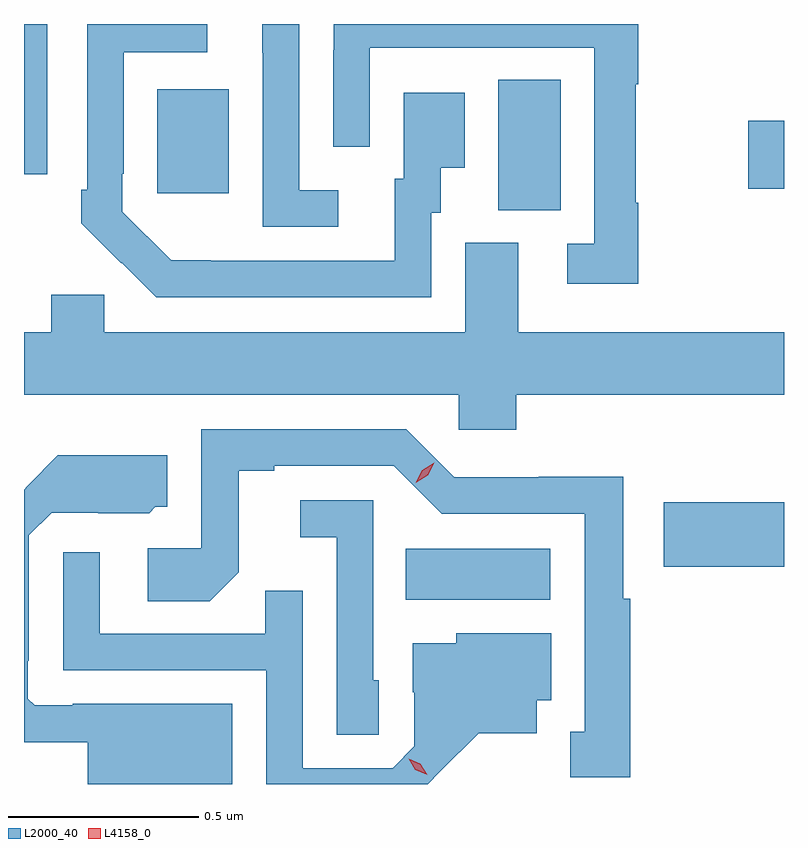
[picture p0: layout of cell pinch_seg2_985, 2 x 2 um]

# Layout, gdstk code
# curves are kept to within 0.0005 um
import gdstk
lib = gdstk.Library(unit=1e-6, precision=1e-09)
def R(c, l, rs):  # rectangles x0, y0, x1, y1
    for r in rs: c.add(gdstk.rectangle(r[:2], r[2:], *l))
def P(c, l, *ps):  # polygons
    for p in ps: c.add(gdstk.Polygon(p, *l))
L2000_40 = (2000, 40)
L4158_0 = (4158, 0)

pinch_seg2_985 = lib.new_cell('pinch_seg2_985')
R(pinch_seg2_985, L2000_40, [(324.514,640.436,324.895,640.57), (325.194,640.523,325.51,640.693), (324.758,641.461,324.922,641.804), (323.861,641.505,324.049,641.779), (325.416,641.518,325.51,641.696), (323.51,641.556,323.571,641.951)])
P(pinch_seg2_985, L2000_40, [(325.127,641.48),(325.12,641.48),(325.12,641.792),(325.127,641.792),(325.127,641.951),(324.325,641.951),(324.325,641.882),(324.324,641.882),(324.324,641.628),(324.42,641.628),(324.42,641.889),(325.011,641.889),(325.011,641.373),(324.939,641.373),(324.939,641.268),(325.127,641.268)],
  [(324.582,641.454),(324.607,641.454),(324.607,641.573),(324.67,641.573),(324.67,641.77),(324.509,641.77),(324.509,641.544),(324.485,641.544),(324.485,641.328),(324.001,641.328),(324.001,641.329),(323.898,641.329),(323.769,641.457),(323.769,641.557),(323.772,641.557),(323.772,641.877),(323.992,641.877),(323.992,641.951),(323.676,641.951),(323.676,641.515),(323.661,641.515),(323.661,641.427),(323.766,641.322),(323.767,641.323),(323.858,641.232),(324.582,641.232)],
  [(324.337,641.514),(324.234,641.514),(324.234,641.951),(324.137,641.951),(324.137,641.875),(324.138,641.875),(324.138,641.418),(324.337,641.418)],
  [(324.806,640.976),(325.51,640.976),(325.51,641.14),(324.811,641.14),(324.811,641.376),(324.671,641.376),(324.671,641.14),(323.721,641.14),(323.721,641.238),(323.582,641.238),(323.582,641.14),(323.51,641.14),(323.51,640.976),(324.654,640.976),(324.654,640.883),(324.806,640.883)],
  [(325.105,640.439),(325.087,640.439),(325.087,640.76),(324.864,640.76),(324.864,640.758),(324.642,640.758),(324.516,640.884),(323.976,640.884),(323.976,640.572),(323.835,640.572),(323.835,640.432),(323.999,640.432),(324.075,640.508),(324.075,640.776),(324.169,640.776),(324.169,640.788),(324.483,640.788),(324.609,640.662),(324.986,640.662),(324.986,640.089),(324.947,640.089),(324.947,639.969),(325.105,639.969)],
  [(324.058,640.162),(323.638,640.162),(323.638,640.158),(323.538,640.158),(323.52,640.176),(323.52,640.276),(323.523,640.276),(323.523,640.605),(323.583,640.665),(323.706,640.665),(323.706,640.664),(323.84,640.664),(323.856,640.68),(323.887,640.68),(323.887,640.816),(323.599,640.816),(323.51,640.726),(323.51,640.061),(323.678,640.061),(323.678,639.951),(324.058,639.951)],
  [(324.444,640.224),(324.429,640.224),(324.429,640.698),(324.237,640.698),(324.237,640.601),(324.333,640.601),(324.333,640.081),(324.444,640.081)],
  [(324.604,639.983),(324.707,640.085),(324.859,640.085),(324.859,640.172),(324.898,640.172),(324.898,640.348),(324.648,640.348),(324.648,640.321),(324.533,640.321),(324.533,640.192),(324.537,640.192),(324.537,640.05),(324.48,639.993),(324.243,639.993),(324.243,640.46),(324.145,640.46),(324.145,640.347),(323.709,640.347),(323.709,640.561),(323.613,640.561),(323.613,640.251),(324.147,640.251),(324.147,639.951),(324.572,639.951)])
P(pinch_seg2_985, L4158_0, [(324.541,640.744),(324.541,640.744),(324.558,640.777),(324.589,640.796),(324.589,640.796),(324.589,640.796),(324.572,640.763),(324.541,640.744)],
  [(324.571,639.975),(324.54,639.989),(324.522,640.018),(324.522,640.018),(324.522,640.018),(324.553,640.004),(324.571,639.975),(324.571,639.975)])

lib.write_gds('pinch_seg2_985.gds')
